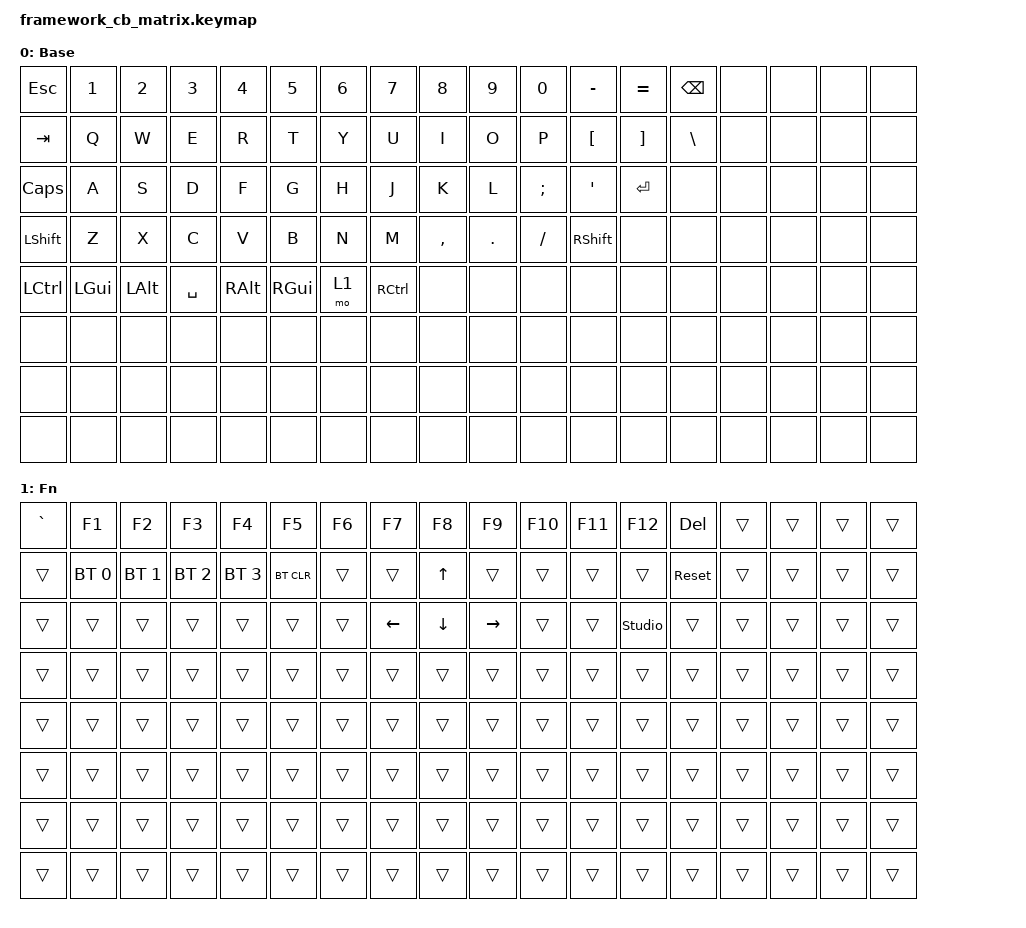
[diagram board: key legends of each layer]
/*
 * Copyright (c) 2026 Shaedil
 * SPDX-License-Identifier: MIT
 */

#define ZMK_BEHAVIORS_KEEP_ALL

#include <behaviors.dtsi>
#include <dt-bindings/zmk/bt.h>
#include <dt-bindings/zmk/keys.h>

/ {
    keymap {
        compatible = "zmk,keymap";

        default_layer {
            display-name = "Base";
            bindings = <
                &kp ESC   &kp N1    &kp N2    &kp N3    &kp N4    &kp N5    &kp N6    &kp N7    &kp N8    &kp N9    &kp N0    &kp MINUS &kp EQUAL &kp BSPC  &none     &none     &none     &none
                &kp TAB   &kp Q     &kp W     &kp E     &kp R     &kp T     &kp Y     &kp U     &kp I     &kp O     &kp P     &kp LBKT  &kp RBKT  &kp BSLH  &none     &none     &none     &none
                &kp CAPS  &kp A     &kp S     &kp D     &kp F     &kp G     &kp H     &kp J     &kp K     &kp L     &kp SEMI  &kp SQT   &kp RET   &none     &none     &none     &none     &none
                &kp LSHFT &kp Z     &kp X     &kp C     &kp V     &kp B     &kp N     &kp M     &kp COMMA &kp DOT   &kp FSLH  &kp RSHFT &none     &none     &none     &none     &none     &none
                &kp LCTRL &kp LGUI  &kp LALT  &kp SPACE &kp RALT  &kp RGUI  &mo 1     &kp RCTRL &none     &none     &none     &none     &none     &none     &none     &none     &none     &none
                &none     &none     &none     &none     &none     &none     &none     &none     &none     &none     &none     &none     &none     &none     &none     &none     &none     &none
                &none     &none     &none     &none     &none     &none     &none     &none     &none     &none     &none     &none     &none     &none     &none     &none     &none     &none
                &none     &none     &none     &none     &none     &none     &none     &none     &none     &none     &none     &none     &none     &none     &none     &none     &none     &none
            >;
        };

        fn_layer {
            display-name = "Fn";
            bindings = <
                &kp GRAVE      &kp F1         &kp F2         &kp F3         &kp F4         &kp F5         &kp F6         &kp F7         &kp F8         &kp F9         &kp F10        &kp F11        &kp F12        &kp DEL        &trans         &trans         &trans         &trans
                &trans         &bt BT_SEL 0   &bt BT_SEL 1   &bt BT_SEL 2   &bt BT_SEL 3   &bt BT_CLR     &trans         &trans         &kp UP         &trans         &trans         &trans         &trans         &sys_reset     &trans         &trans         &trans         &trans
                &trans         &trans         &trans         &trans         &trans         &trans         &trans         &kp LEFT       &kp DOWN       &kp RIGHT      &trans         &trans         &studio_unlock &trans         &trans         &trans         &trans         &trans
                &trans         &trans         &trans         &trans         &trans         &trans         &trans         &trans         &trans         &trans         &trans         &trans         &trans         &trans         &trans         &trans         &trans         &trans
                &trans         &trans         &trans         &trans         &trans         &trans         &trans         &trans         &trans         &trans         &trans         &trans         &trans         &trans         &trans         &trans         &trans         &trans
                &trans         &trans         &trans         &trans         &trans         &trans         &trans         &trans         &trans         &trans         &trans         &trans         &trans         &trans         &trans         &trans         &trans         &trans
                &trans         &trans         &trans         &trans         &trans         &trans         &trans         &trans         &trans         &trans         &trans         &trans         &trans         &trans         &trans         &trans         &trans         &trans
                &trans         &trans         &trans         &trans         &trans         &trans         &trans         &trans         &trans         &trans         &trans         &trans         &trans         &trans         &trans         &trans         &trans         &trans
            >;
        };

        extra1 {
            status = "reserved";
        };

        extra2 {
            status = "reserved";
        };

        extra3 {
            status = "reserved";
        };
    };
};
